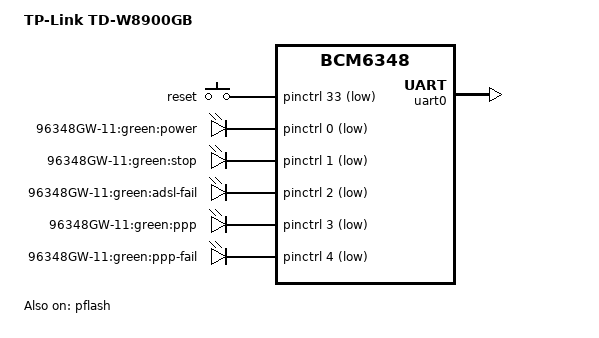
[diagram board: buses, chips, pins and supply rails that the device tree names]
/dts-v1/;

#include "bcm6348.dtsi"

#include <dt-bindings/input/input.h>

/ {
	model = "TP-Link TD-W8900GB";
	compatible = "tp-link,td-w8900gb", "brcm,bcm6348";

	chosen {
		bootargs = "rootfstype=squashfs,jffs2 noinitrd console=ttyS0,115200";
		stdout-path = "serial0:115200n8";
	};

	gpio-keys-polled {
		compatible = "gpio-keys-polled";
		#address-cells = <1>;
		#size-cells = <0>;
		poll-interval = <20>;
		debounce-interval = <60>;

		reset {
			label = "reset";
			gpios = <&pinctrl 33 1>;
			linux,code = <KEY_RESTART>;
		};
	};

	gpio-leds {
		compatible = "gpio-leds";

		power_green {
			label = "96348GW-11:green:power";
			gpios = <&pinctrl 0 1>;
			default-state = "on";
		};
		stop_green {
			label = "96348GW-11:green:stop";
			gpios = <&pinctrl 1 1>;
		};
		adsl_fail_green {
			label = "96348GW-11:green:adsl-fail";
			gpios = <&pinctrl 2 1>;
		};
		ppp_green {
			label = "96348GW-11:green:ppp";
			gpios = <&pinctrl 3 1>;
		};
		ppp_fail_green {
			label = "96348GW-11:green:ppp-fail";
			gpios = <&pinctrl 4 1>;
		};
	};
};

&pflash {
	status = "ok";

	linux,part-probe = "bcm63xxpart";

	partitions {
		compatible = "fixed-partitions";
		#address-cells = <1>;
		#size-cells = <1>;

		cfe@0 {
			label = "CFE";
			reg = <0x000000 0x020000>;
			read-only;
		};

		linux@20000 {
			label = "linux";
			reg = <0x020000 0x3d0000>;
			compatible = "brcm,bcm963xx-imagetag";
		};

		nvram@3e0000 {
			label = "nvram";
			reg = <0x3f0000 0x010000>;
		};
	};
};

&pinctrl {
	pinctrl-names = "default";
	pinctrl-0 = <&pinctrl_pci &pinctrl_ext_mii &pinctrl_mii_pccard>;
};

&uart0 {
	status = "ok";
};
